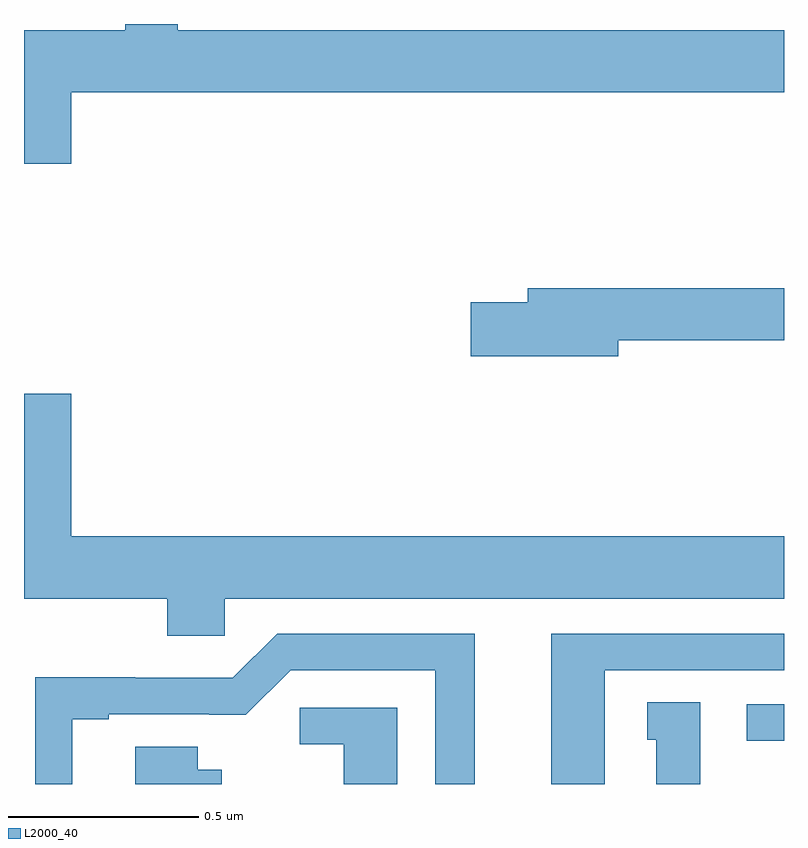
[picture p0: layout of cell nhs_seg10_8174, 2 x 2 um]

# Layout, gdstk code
import gdstk
lib = gdstk.Library(unit=1e-6, precision=1e-09)
def R(c, l, rs):  # rectangles x0, y0, x1, y1
    for r in rs: c.add(gdstk.rectangle(r[:2], r[2:], *l))
def P(c, l, *ps):  # polygons
    for p in ps: c.add(gdstk.Polygon(p, *l))
L2000_40 = (2000, 40)

nhs_seg10_8174 = lib.new_cell('nhs_seg10_8174')
R(nhs_seg10_8174, L2000_40, [(214.902,1294.614,215,1294.71)])
P(nhs_seg10_8174, L2000_40, [(213.124,1296.32),(215,1296.32),(215,1296.484),(213.405,1296.484),(213.405,1296.5),(213.267,1296.5),(213.267,1296.484),(213,1296.484),(213,1296.132),(213.124,1296.132)],
  [(214.564,1295.668),(215,1295.668),(215,1295.804),(214.325,1295.804),(214.325,1295.768),(214.176,1295.768),(214.176,1295.626),(214.564,1295.626)],
  [(213.528,1294.988),(215,1294.988),(215,1295.152),(213.124,1295.152),(213.124,1295.527),(213,1295.527),(213,1294.988),(213.377,1294.988),(213.377,1294.89),(213.528,1294.89)],
  [(214.528,1294.8),(215,1294.8),(215,1294.896),(214.388,1294.896),(214.388,1294.5),(214.528,1294.5)],
  [(213.127,1294.671),(213.223,1294.671),(213.223,1294.683),(213.488,1294.683),(213.488,1294.682),(213.584,1294.682),(213.702,1294.8),(214.082,1294.8),(214.082,1294.5),(214.186,1294.5),(214.186,1294.896),(213.666,1294.896),(213.549,1294.779),(213.293,1294.779),(213.293,1294.781),(213.03,1294.781),(213.03,1294.5),(213.127,1294.5)],
  [(214.78,1294.715),(214.64,1294.715),(214.64,1294.617),(214.664,1294.617),(214.664,1294.5),(214.78,1294.5)],
  [(213.982,1294.701),(213.726,1294.701),(213.726,1294.604),(213.842,1294.604),(213.842,1294.5),(213.982,1294.5)],
  [(213.52,1294.537),(213.457,1294.537),(213.457,1294.598),(213.293,1294.598),(213.293,1294.5),(213.52,1294.5)])

lib.write_gds('nhs_seg10_8174.gds')
